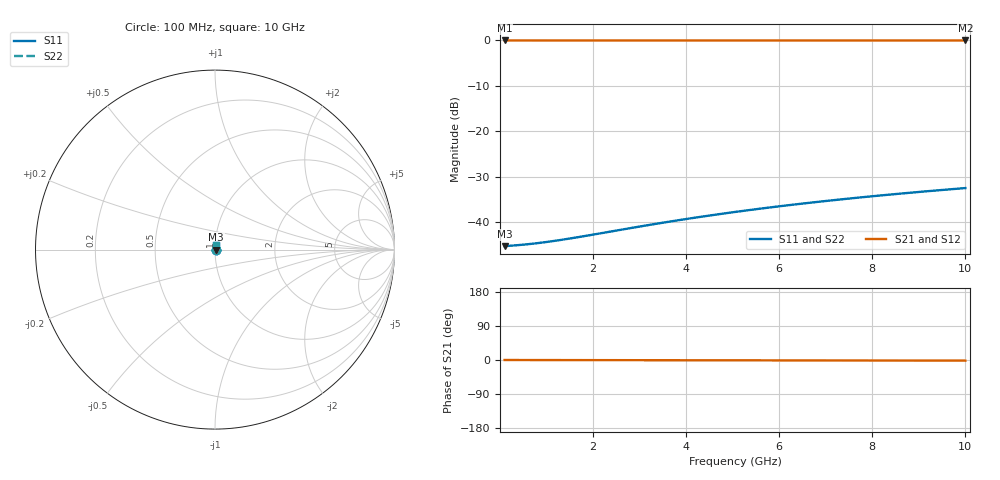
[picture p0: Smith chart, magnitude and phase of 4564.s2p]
# Hz S RI R 50.00
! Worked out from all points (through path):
!   100 points, 100 MHz to 10 GHz, reference 50 ohm
!   highest |S21| = -0.05 dB at 100 MHz (marker M1); lowest = -0.1 dB at 10 GHz (marker M2)
!   lowest |S11| = -45.2 dB at 100 MHz (marker M3), VSWR 1.01, Z = 50.6 + j0.0232 ohm
!   |S11| at or under -10 dB: start of sweep to end of sweep
!   |S22| runs from -45.2 to -32.5 dB; largest |S21 - S12| = 0
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1e8  0.00549 0.000229  0.9945 -0.000289  0.9945 -0.000289  0.00549 0.000229
5e8  0.00559 0.00114  0.9944 -0.00145  0.9944 -0.00145  0.00559 0.00114
7e8  0.00562 0.0016  0.9944 -0.00203  0.9944 -0.00203  0.00562 0.0016
9e8  0.00564 0.00206  0.9944 -0.0026  0.9944 -0.0026  0.00564 0.00206
1.1e9  0.00567 0.00252  0.9943 -0.00318  0.9943 -0.00318  0.00567 0.00252
1.3e9  0.00569 0.00298  0.9943 -0.00376  0.9943 -0.00376  0.00569 0.00298
1.5e9  0.00571 0.00343  0.9943 -0.00434  0.9943 -0.00434  0.00571 0.00343
1.8e9  0.00573 0.00412  0.9943 -0.00521  0.9943 -0.00521  0.00573 0.00412
2.9e9  0.00583 0.00664  0.9942 -0.00839  0.9942 -0.00839  0.00583 0.00664
3.4e9  0.00587 0.00778  0.9941 -0.00983  0.9941 -0.00983  0.00587 0.00778
3.8e9  0.0059 0.0087  0.9941 -0.011  0.9941 -0.011  0.0059 0.0087
4.2e9  0.00594 0.00961  0.9941 -0.0121  0.9941 -0.0121  0.00594 0.00961
4.6e9  0.00597 0.0105  0.994 -0.0133  0.994 -0.0133  0.00597 0.0105
5.1e9  0.00602 0.0117  0.994 -0.0148  0.994 -0.0148  0.00602 0.0117
5.5e9  0.00606 0.0126  0.9939 -0.0159  0.9939 -0.0159  0.00606 0.0126
5.9e9  0.0061 0.0135  0.9939 -0.0171  0.9939 -0.0171  0.0061 0.0135
6.3e9  0.00614 0.0144  0.9938 -0.0182  0.9938 -0.0182  0.00614 0.0144
6.7e9  0.00618 0.0153  0.9938 -0.0194  0.9938 -0.0194  0.00618 0.0153
7.5e9  0.00628 0.0172  0.9937 -0.0217  0.9937 -0.0217  0.00628 0.0172
8.4e9  0.00639 0.0192  0.9936 -0.0243  0.9936 -0.0243  0.00639 0.0192
9.2e9  0.0065 0.0211  0.9935 -0.0266  0.9935 -0.0266  0.0065 0.0211
1e10  0.00662 0.0229  0.9934 -0.029  0.9934 -0.029  0.00662 0.0229
